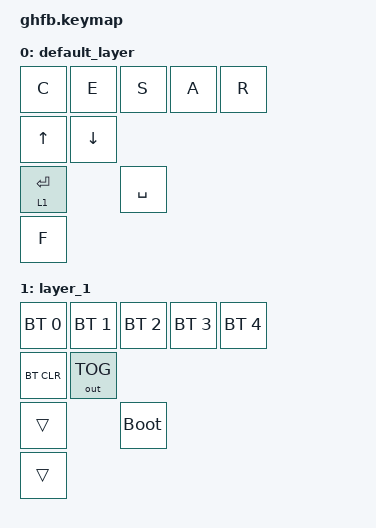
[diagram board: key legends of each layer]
/*
 * Copyright (c) 2020 The ZMK Contributors
 *
 * SPDX-License-Identifier: MIT
 */

#include <behaviors.dtsi>
#include <dt-bindings/zmk/bt.h>
#include <dt-bindings/zmk/keys.h>
#include <dt-bindings/zmk/outputs.h>


&mt {
  //  flavor = "tap-preferred";
   // tapping_term_ms = <200>;
};

&lt {
    flavor = "balanced";
};

/ { 

	behaviors {
		td0: tap_dance_0 {
		    compatible = "zmk,behavior-tap-dance";
		    label = "TAP_DANCE_0";
		    #binding-cells = <0>;
		    tapping-term-ms = <200>;
		    bindings = <&kp Q>, <&sl 1>;
		};
	    };

        keymap {
                compatible = "zmk,keymap";

       		default_layer {
		bindings = <
		// frets
		&kp C &kp E &kp S &kp A &kp R
		// strum
		&kp UP &kp DOWN
		// start select
		&lt 1 RET &kp SPC
		// tilt
		&kp F
		>;
		};
                
       		layer_1 {
		bindings = <
		// frets
		&bt BT_SEL 0 &bt BT_SEL 1 &bt BT_SEL 2 &bt BT_SEL 3 &bt BT_SEL 4
		// strum up & down
		&bt BT_CLR &out OUT_TOG
		// start select
		&trans &bootloader
		// tilt
		&trans
		>;
		};
        
	};
};
